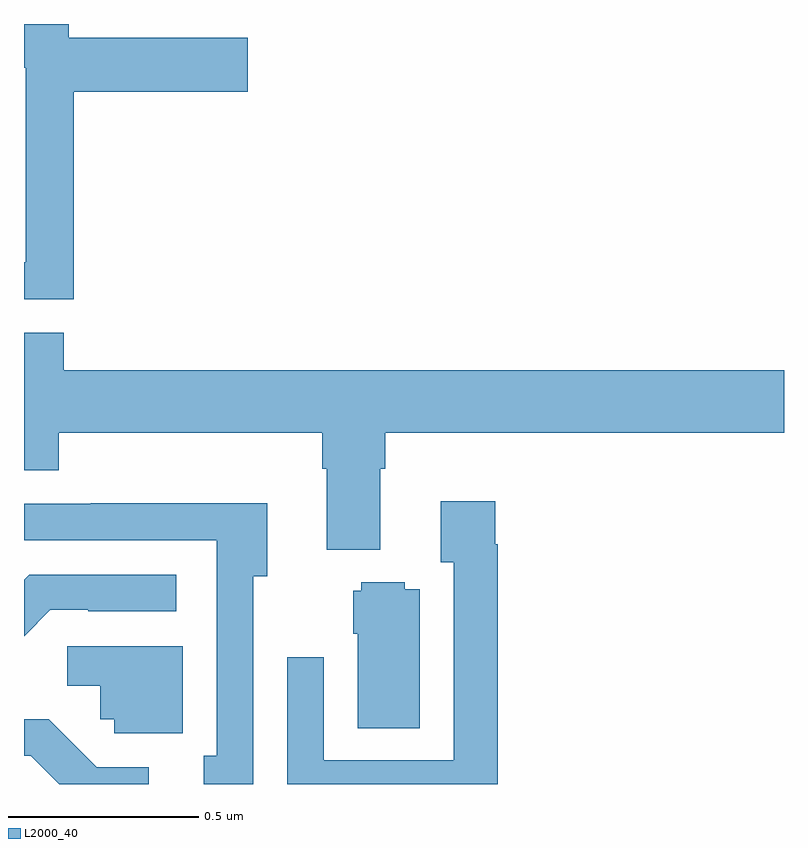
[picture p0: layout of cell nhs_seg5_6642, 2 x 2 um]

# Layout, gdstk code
import gdstk
lib = gdstk.Library(unit=1e-6, precision=1e-09)
def P(c, l, *ps):  # polygons
    for p in ps: c.add(gdstk.Polygon(p, *l))
L2000_40 = (2000, 40)

nhs_seg5_6642 = lib.new_cell('nhs_seg5_6642')
P(nhs_seg5_6642, L2000_40, [(198.131,893.621),(198.589,893.621),(198.589,893.763),(198.118,893.763),(198.118,893.799),(198,893.799),(198,893.684),(198.005,893.684),(198.005,893.172),(198,893.172),(198,893.075),(198.131,893.075)],
  [(198.937,892.628),(198.95,892.628),(198.95,892.724),(200,892.724),(200,892.888),(198.104,892.888),(198.104,892.987),(198,892.987),(198,892.625),(198.092,892.625),(198.092,892.724),(198.785,892.724),(198.785,892.628),(198.797,892.628),(198.797,892.415),(198.937,892.415)],
  [(199.247,892.43),(199.24,892.43),(199.24,892.543),(199.097,892.543),(199.097,892.382),(199.131,892.382),(199.131,891.861),(198.789,891.861),(198.789,892.132),(198.693,892.132),(198.693,891.799),(199.247,891.799)],
  [(198.603,892.346),(198.64,892.346),(198.64,892.538),(198.175,892.538),(198.175,892.536),(198,892.536),(198,892.44),(198.507,892.44),(198.507,891.874),(198.473,891.874),(198.473,891.799),(198.603,891.799)],
  [(198.069,892.257),(198.169,892.257),(198.169,892.254),(198.4,892.254),(198.4,892.35),(198.014,892.35),(198,892.336),(198,892.188)],
  [(199.042,892.312),(199.002,892.312),(199.002,892.33),(198.888,892.33),(198.888,892.308),(198.866,892.308),(198.866,892.194),(198.878,892.194),(198.878,891.946),(199.042,891.946)],
  [(198.418,892.161),(198.114,892.161),(198.114,892.058),(198.201,892.058),(198.201,891.969),(198.237,891.969),(198.237,891.933),(198.418,891.933)],
  [(198.328,891.843),(198.192,891.843),(198.065,891.97),(198,891.97),(198,891.873),(198.018,891.873),(198.093,891.799),(198.328,891.799)])

lib.write_gds('nhs_seg5_6642.gds')
